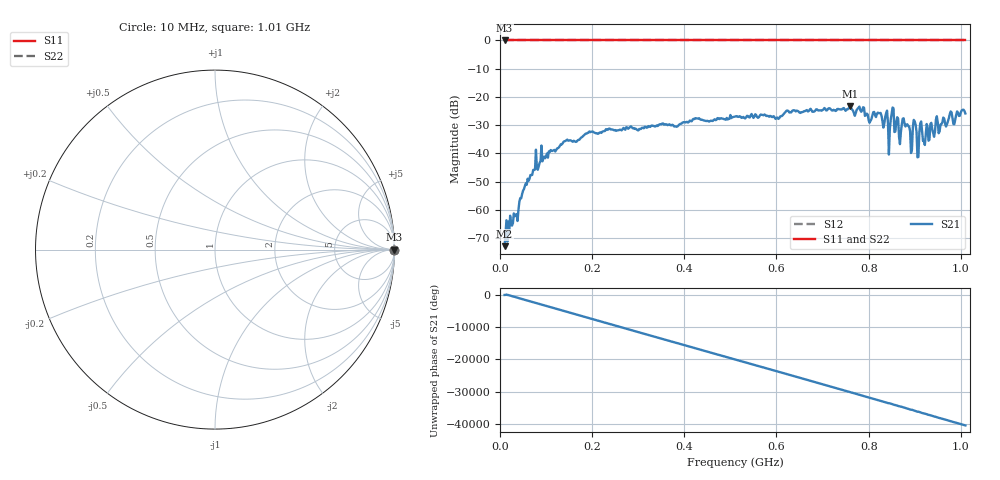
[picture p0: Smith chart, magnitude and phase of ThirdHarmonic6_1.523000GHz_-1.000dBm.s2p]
! 8/16/2025 5:59:37 PM
! C:\ANRITSUVNA\TEMP\TEMP.S2P
! CHANNEL.1
! TR.MEASUREMENT
! RAW.DATA
! RF.CORRECTION.OFF
! AVERAGING.OFF
! IF.BANDWIDTH: 5KHZ
! SWEEPTYPE:  FREQ.SWEEP(Linear)
! Reference Plane Port Info
! PORT:  PORT1  PORT2
! DISTANCE:  0  m  0  m
! TIME:  0  s  0  s
! PHASE.OFFSET:  0  deg.  0  deg.
! LOSS:  0  dB  0  dB
! REF.LOSS:  0  dB  0  dB
! REF.FREQ:  0  Hz  0  Hz
! Power Info
! POWER:  -20  dBm  -20  dBm
! EFF.POWER:  -20  dBm  -20  dBm
! SOURCE.ATTEN:  0  dB  0  dB
! TEST.ATTEN:  0  dB  0  dB
# GHZ S RI R 50.0
! FREQ.GHZ  S11RE  S11IM  S21RE  S21IM  S12RE  S12IM  S22RE  S22IM
!; PortSelection: Port_12
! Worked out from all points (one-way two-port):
!   501 points, 10 MHz to 1.01 GHz, reference 50 ohm
!   highest |S21| = -23.22 dB at 760 MHz (marker M1); lowest = -72.9 dB at 10 MHz (marker M2)
!   lowest |S11| = 0.0 dB at 10 MHz (marker M3)
!   |S11| at or under -10 dB: nowhere
!   |S22| runs from 0.0 to 0.0 dB; largest |S21 - S12| = 1.1
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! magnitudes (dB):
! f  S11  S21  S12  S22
! 10 MHz  0.0  -72.9  0.0  0.0
! 76 MHz  0.0  -45.7  0.0  0.0
! 142 MHz  0.0  -35.6  0.0  0.0
! 178 MHz  0.0  -34.2  0.0  0.0
! 344 MHz  0.0  -30.1  0.0  0.0
! 510 MHz  0.0  -27.0  0.0  0.0
! 678 MHz  0.0  -25.3  0.0  0.0
! 760 MHz  0.0  -23.2  0.0  0.0
! 804 MHz  0.0  -28.5  0.0  0.0
! 824 MHz  0.0  -25.7  0.0  0.0
! 844 MHz  0.0  -40.4  0.0  0.0
! 850 MHz  0.0  -25.9  0.0  0.0
! 868 MHz  0.0  -36.7  0.0  0.0
! 876 MHz  0.0  -27.6  0.0  0.0
! 886 MHz  0.0  -30.3  0.0  0.0
! 892 MHz  0.0  -39.9  0.0  0.0
! 900 MHz  0.0  -28.7  0.0  0.0
! 906 MHz  0.0  -41.4  0.0  0.0
! 914 MHz  0.0  -28.7  0.0  0.0
! 920 MHz  0.0  -35.6  0.0  0.0
! 978 MHz  0.0  -25.2  0.0  0.0
! 1.01 GHz  0.0  -25.9  0.0  0.0
